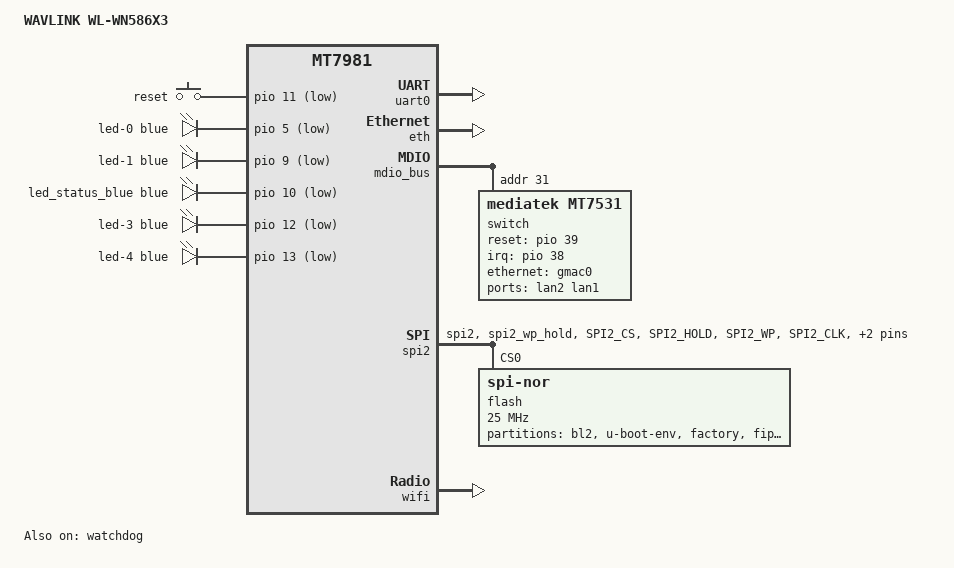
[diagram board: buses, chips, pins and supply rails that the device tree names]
// SPDX-License-Identifier: (GPL-2.0 OR MIT)

/dts-v1/;

#include "mt7981.dtsi"

/ {
	model = "WAVLINK WL-WN586X3";
	compatible = "wavlink,wl-wn586x3", "mediatek,mt7981";

	aliases {
		label-mac-device = &wifi;
		led-boot = &led_status_blue;
		led-failsafe = &led_status_blue;
		led-running = &led_status_blue;
		led-upgrade = &led_status_blue;
		serial0 = &uart0;
	};

	chosen {
		stdout-path = "serial0:115200n8";
	};

	gpio-keys {
		compatible = "gpio-keys";

		button-reset {
			label = "reset";
			linux,code = <KEY_RESTART>;
			gpios = <&pio 11 GPIO_ACTIVE_LOW>;
		};
	};

	leds {
		compatible = "gpio-leds";

		led-0 {
			color = <LED_COLOR_ID_BLUE>;
			function = LED_FUNCTION_WAN;
			gpios = <&pio 5 GPIO_ACTIVE_LOW>;
		};

		led-1 {
			color = <LED_COLOR_ID_BLUE>;
			function = LED_FUNCTION_WLAN;
			gpios = <&pio 9 GPIO_ACTIVE_LOW>;
			linux,default-trigger = "phy1tpt";
		};

		led_status_blue: led-2 {
			color = <LED_COLOR_ID_BLUE>;
			function = LED_FUNCTION_STATUS;
			gpios = <&pio 10 GPIO_ACTIVE_LOW>;
		};

		led-3 {
			color = <LED_COLOR_ID_BLUE>;
			function = LED_FUNCTION_LAN;
			function-enumerator = <1>;
			gpios = <&pio 12 GPIO_ACTIVE_LOW>;
		};

		led-4 {
			color = <LED_COLOR_ID_BLUE>;
			function = LED_FUNCTION_LAN;
			function-enumerator = <2>;
			gpios = <&pio 13 GPIO_ACTIVE_LOW>;
		};

	};
};

&uart0 {
	status = "okay";
};

&watchdog {
	status = "okay";
};

&eth {
	status = "okay";

	gmac0: mac@0 {
		compatible = "mediatek,eth-mac";
		reg = <0>;
		phy-mode = "2500base-x";
		nvmem-cells = <&macaddr_hw_44e 0>;
		nvmem-cell-names = "mac-address";

		fixed-link {
			speed = <2500>;
			full-duplex;
			pause;
		};
	};

	gmac1: mac@1 {
		compatible = "mediatek,eth-mac";
		reg = <1>;
		phy-mode = "gmii";
		phy-handle = <&int_gbe_phy>;
		nvmem-cells = <&macaddr_hw_44e 1>;
		nvmem-cell-names = "mac-address";
	};
};

&mdio_bus {
	switch: switch@1f {
		compatible = "mediatek,mt7531";
		reg = <31>;
		reset-gpios = <&pio 39 GPIO_ACTIVE_HIGH>;
		interrupt-controller;
		#interrupt-cells = <1>;
		interrupt-parent = <&pio>;
		interrupts = <38 IRQ_TYPE_LEVEL_HIGH>;
	};
};

&spi0 {
	pinctrl-names = "default";
	pinctrl-0 = <&spi0_flash_pins>;
	status = "disabled";
};

&spi2 {
	pinctrl-names = "default";
	pinctrl-0 = <&spi2_flash_pins>;
	status = "okay";

	flash@0 {
		#address-cells = <1>;
		#size-cells = <1>;

		compatible = "jedec,spi-nor";
		reg = <0>;

		spi-max-frequency = <25000000>;
		spi-tx-bus-width = <4>;
		spi-rx-bus-width = <4>;

		partitions {
			compatible = "fixed-partitions";
			#address-cells = <1>;
			#size-cells = <1>;

			partition@00000 {
				label = "bl2";
				reg = <0x00000 0x40000>;
				read-only;
			};

			partition@40000 {
				label = "u-boot-env";
				reg = <0x40000 0x10000>;
				read-only;
			};

			factory: partition@50000 {
				label = "factory";
				reg = <0x50000 0xb0000>;
				read-only;

				nvmem-layout {
					compatible = "fixed-layout";
					#address-cells = <1>;
					#size-cells = <1>;

					macaddr_factory_4: macaddr@4 {
						compatible = "mac-base";
						reg = <0x4 0x6>;
						#nvmem-cell-cells = <1>;
					};
				};
			};

			partition@100000 {
				label = "fip";
				reg = <0x100000 0x80000>;
				read-only;
			};

			partition@f0000 {
				label = "firmware";
				reg = <0x180000 0xe00000>;
			};

			partition@f80000 {
				label = "hw";
				reg = <0xf80000 0x80000>;

				nvmem-layout {
					compatible = "fixed-layout";
					#address-cells = <1>;
					#size-cells = <1>;

					macaddr_hw_44e: macaddr@44e {
						compatible = "mac-base";
						reg = <0x44e 0x11>;
						#nvmem-cell-cells = <1>;
					};
				};
			};
		};
	};
};

&pio {
	spi0_flash_pins: spi0-pins {
		mux {
			function = "spi";
			groups = "spi0", "spi0_wp_hold";
		};
	};

	spi2_flash_pins: spi2-pins {
		mux {
			function = "spi";
			groups = "spi2", "spi2_wp_hold";
		};

		conf-pu {
			pins = "SPI2_CS", "SPI2_HOLD", "SPI2_WP";
			drive-strength = <8>;
			bias-pull-up = <103>;
		};

		conf-pd {
			pins = "SPI2_CLK", "SPI2_MOSI", "SPI2_MISO";
			drive-strength = <8>;
			bias-pull-down = <103>;
		};
	};
};

&switch {
	ports {
		#address-cells = <1>;
		#size-cells = <0>;

		port@1 {
			reg = <1>;
			label = "lan2";
		};

		port@2 {
			reg = <2>;
			label = "lan1";
		};

		port@6 {
			reg = <6>;
			ethernet = <&gmac0>;
			phy-mode = "2500base-x";

			fixed-link {
				speed = <2500>;
				full-duplex;
				pause;
			};
		};
	};
};

&wifi {
	status = "okay";
	mediatek,mtd-eeprom = <&factory 0x0>;
	nvmem-cells = <&macaddr_factory_4 0>;
	nvmem-cell-names = "mac-address";
};
